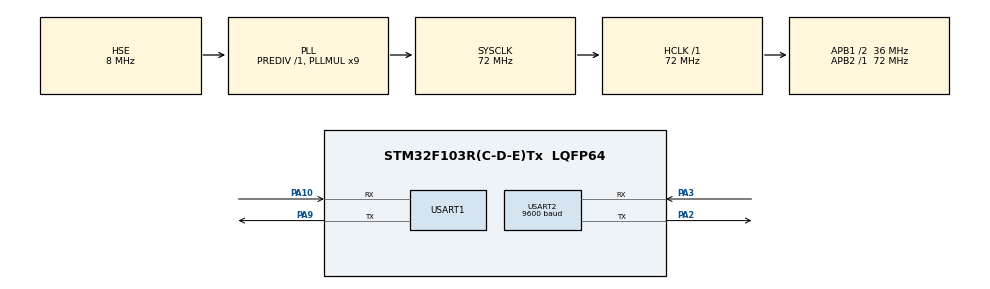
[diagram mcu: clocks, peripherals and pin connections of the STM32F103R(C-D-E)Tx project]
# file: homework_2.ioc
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Dma.Request0=USART2_RX
Dma.USART2_RX.0.Direction=DMA_PERIPH_TO_MEMORY
Dma.USART2_RX.0.Instance=DMA1_Channel6
Dma.USART2_RX.0.MemDataAlignment=DMA_MDATAALIGN_BYTE
Dma.USART2_RX.0.MemInc=DMA_MINC_ENABLE
Dma.USART2_RX.0.Mode=DMA_CIRCULAR
Dma.USART2_RX.0.PeriphDataAlignment=DMA_PDATAALIGN_BYTE
Dma.USART2_RX.0.PeriphInc=DMA_PINC_DISABLE
Dma.USART2_RX.0.Priority=DMA_PRIORITY_LOW
Mcu.Family=STM32F1
Mcu.Name=STM32F103R(C-D-E)Tx
Mcu.Package=LQFP64
NVIC.DMA1_Channel6_IRQn=true\:0\:0\:false\:false\:true\:false\:true\:true
NVIC.PriorityGroup=NVIC_PRIORITYGROUP_4
NVIC.USART2_IRQn=true\:0\:0\:false\:false\:true\:true\:true\:true
PA10.Mode=Asynchronous
PA10.Signal=USART1_RX
PA13.Mode=Serial_Wire
PA13.Signal=SYS_JTMS-SWDIO
PA14.Mode=Serial_Wire
PA14.Signal=SYS_JTCK-SWCLK
PA2.Mode=Asynchronous
PA2.Signal=USART2_TX
PA3.Mode=Asynchronous
PA3.Signal=USART2_RX
PA9.Mode=Asynchronous
PA9.Signal=USART1_TX
PD0-OSC_IN.Mode=HSE-External-Oscillator
PD0-OSC_IN.Signal=RCC_OSC_IN
PD1-OSC_OUT.Mode=HSE-External-Oscillator
PD1-OSC_OUT.Signal=RCC_OSC_OUT
ProjectManager.HeapSize=0x200
ProjectManager.StackSize=0x400
ProjectManager.TargetToolchain=STM32CubeIDE
RCC.AHBFreq_Value=72000000
RCC.APB1CLKDivider=RCC_HCLK_DIV2
RCC.APB1Freq_Value=36000000
RCC.APB1TimFreq_Value=72000000
RCC.APB2Freq_Value=72000000
RCC.APB2TimFreq_Value=72000000
RCC.HCLKFreq_Value=72000000
RCC.PLLMUL=RCC_PLL_MUL9
RCC.PLLSourceVirtual=RCC_PLLSOURCE_HSE
RCC.SYSCLKFreq_VALUE=72000000
RCC.SYSCLKSource=RCC_SYSCLKSOURCE_PLLCLK
RCC.USBFreq_Value=72000000
USART1.VirtualMode=VM_ASYNC
USART2.BaudRate=9600
USART2.VirtualMode=VM_ASYNC
board=custom

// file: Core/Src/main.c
/* USER CODE BEGIN Header */
/**
 ******************************************************************************
 * @file           : main.c
 * @brief          : Main program body
 ******************************************************************************
 * @attention
 *
 * Copyright (c) 2023 STMicroelectronics.
 * All rights reserved.
 *
 * This software is licensed under terms that can be found in the LICENSE file
 * in the root directory of this software component.
 * If no LICENSE file comes with this software, it is provided AS-IS.
 *
 ******************************************************************************
 */
/* USER CODE END Header */
#include "main.h"
#include "dma.h"
#include "gpio.h"
#include "usart.h"

/* USER CODE BEGIN PV */
uint8_t a = 0;
uint8_t b = 0;
uint8_t c = 0;
uint8_t d = 0;
uint8_t u2_RX_Buf[5];
/* USER CODE END PV */

void SystemClock_Config(void);

/* USER CODE BEGIN 0 */
int randNext(int left, int right) {
  static unsigned int seed = 0;
  seed++;
  srand((unsigned)HAL_GetTick() + seed * seed);
  return rand() % (right - left + 1) + left;
}
/* USER CODE END 0 */

int main(void) {

  /* MCU Configuration--------------------------------------------------------*/

  /* Reset of all peripherals, Initializes the Flash interface and the Systick.
   */
  HAL_Init();

  /* Configure the system clock */
  SystemClock_Config();

  /* Initialize all configured peripherals */
  MX_GPIO_Init();
  MX_DMA_Init();
  MX_USART1_UART_Init();
  MX_USART2_UART_Init();

  /* Infinite loop */
  while (1) {

    /* USER CODE BEGIN 3 */
    a = randNext(10, 99);
    b = randNext(10, 99);
    c = randNext(10, 99);
    d = randNext(10, 99);
    u2_printf("%d %d %d %d\r\n", a, b, c, d);
    u1_printf("%d %d %d %d\r\n", a, b, c, d);
    while (HAL_UART_Receive(&huart2, u2_RX_Buf, sizeof(u2_RX_Buf), 100) !=
           HAL_OK)
      ;
    u1_printf("%s\r\n", u2_RX_Buf);

    HAL_Delay(2000);
  }
  /* USER CODE END 3 */
}

void SystemClock_Config(void) {
  RCC_OscInitTypeDef RCC_OscInitStruct = {0};
  RCC_ClkInitTypeDef RCC_ClkInitStruct = {0};

  /** Initializes the RCC Oscillators according to the specified parameters
   * in the RCC_OscInitTypeDef structure.
   */
  RCC_OscInitStruct.OscillatorType = RCC_OSCILLATORTYPE_HSE;
  RCC_OscInitStruct.HSEState = RCC_HSE_ON;
  RCC_OscInitStruct.HSEPredivValue = RCC_HSE_PREDIV_DIV1;
  RCC_OscInitStruct.HSIState = RCC_HSI_ON;
  RCC_OscInitStruct.PLL.PLLState = RCC_PLL_ON;
  RCC_OscInitStruct.PLL.PLLSource = RCC_PLLSOURCE_HSE;
  RCC_OscInitStruct.PLL.PLLMUL = RCC_PLL_MUL9;
  if (HAL_RCC_OscConfig(&RCC_OscInitStruct) != HAL_OK) {
    Error_Handler();
  }

  /** Initializes the CPU, AHB and APB buses clocks
   */
  RCC_ClkInitStruct.ClockType = RCC_CLOCKTYPE_HCLK | RCC_CLOCKTYPE_SYSCLK |
                                RCC_CLOCKTYPE_PCLK1 | RCC_CLOCKTYPE_PCLK2;
  RCC_ClkInitStruct.SYSCLKSource = RCC_SYSCLKSOURCE_PLLCLK;
  RCC_ClkInitStruct.AHBCLKDivider = RCC_SYSCLK_DIV1;
  RCC_ClkInitStruct.APB1CLKDivider = RCC_HCLK_DIV2;
  RCC_ClkInitStruct.APB2CLKDivider = RCC_HCLK_DIV1;

  if (HAL_RCC_ClockConfig(&RCC_ClkInitStruct, FLASH_LATENCY_2) != HAL_OK) {
    Error_Handler();
  }
}

void Error_Handler(void) {
  __disable_irq();
  while (1) {
  }
}

#ifdef USE_FULL_ASSERT
/**
 * @brief  Reports the name of the source file and the source line number
 *         where the assert_param error has occurred.
 * @param  file: pointer to the source file name
 * @param  line: assert_param error line source number
 * @retval None
 */
void assert_failed(uint8_t *file, uint32_t line) {
  /* USER CODE BEGIN 6 */
  /* User can add his own implementation to report the file name and line
     number, ex: printf("Wrong parameters value: file %s on line %d\r\n", file,
     line) */
  /* USER CODE END 6 */
}
#endif /* USE_FULL_ASSERT */
